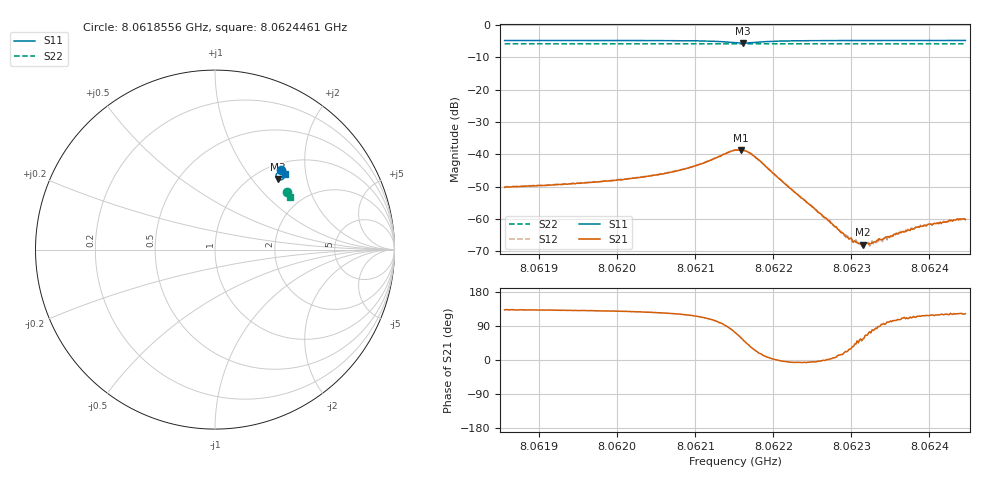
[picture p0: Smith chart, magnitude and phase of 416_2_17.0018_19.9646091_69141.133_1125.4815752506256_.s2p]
#  HZ  S  RI  R  50.00
! Rohde & Schwarz Vector Network Analyzer
! Rohde-Schwarz,ZNB20-2Port,1311601062101988,3.16
! Created: UTC 3/20/2024, 11:10:45 PM
! freq[Hz]  re:S11  im:S11  re:S21  im:S21  re:S12  im:S12  re:S22  im:S22
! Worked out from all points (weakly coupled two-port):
!   401 points, 8.0618556 GHz to 8.0624461 GHz, reference 50 ohm
!   highest |S21| = -38.66 dB at 8.0621582 GHz (marker M1); lowest = -68.0 dB at 8.0623147 GHz (marker M2)
!   lowest |S11| = -5.6 dB at 8.0621612 GHz (marker M3), VSWR 3.22, Z = 62.4 + j67.9 ohm
!   |S11| at or under -10 dB: nowhere
!   |S22| runs from -5.9 to -5.8 dB; largest |S21 - S12| = 0.00077
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8.06185558e9  0.3677 0.4434  -0.00208 0.00227  -0.002 0.00243  0.3994 0.3203
8.0619545e9  0.3748 0.4371  -0.00233 0.00271  -0.00217 0.00287  0.4031 0.3152
8.06200765e9  0.379 0.4328  -0.00252 0.00319  -0.00236 0.00337  0.4052 0.3124
8.06205342e9  0.3829 0.4273  -0.00277 0.00397  -0.0026 0.00419  0.4068 0.3101
8.06209771e9  0.3871 0.4172  -0.00291 0.00581  -0.00257 0.006  0.4084 0.3076
8.06215086e9  0.3648 0.3881  0.00336 0.0111  0.00407 0.0109  0.4087 0.3039
8.06215824e9  0.3529 0.3907  0.00604 0.00998  0.00661 0.00978  0.4085 0.3037
8.06216119e9  0.3485 0.3937  0.00684 0.00916  0.00754 0.0089  0.4084 0.3039
8.06217448e9  0.3402 0.4132  0.00837 0.00457  0.0087 0.00414  0.4089 0.3043
8.06224977e9  0.3722 0.4345  0.00153 -0.000147  0.00154 -0.000302  0.4131 0.3012
8.06227339e9  0.3766 0.4329  0.000862 5.13e-05  0.000901 1.79e-05  0.4141 0.2999
8.06228668e9  0.3785 0.4319  0.000592 0.000153  0.000629 0.000125  0.4145 0.2992
8.06229406e9  0.3795 0.4313  0.000489 0.000194  0.000537 0.000138  0.4149 0.2988
8.06230144e9  0.3804 0.431  0.000359 0.000257  0.000393 0.000252  0.4152 0.2985
8.06230882e9  0.3813 0.4303  0.000291 0.000294  0.000328 0.000264  0.4155 0.2981
8.06231473e9  0.3819 0.43  0.000227 0.000327  0.000224 0.00034  0.4157 0.2977
8.06232506e9  0.383 0.4294  0.000131 0.000391  0.000127 0.000385  0.416 0.2972
8.06234869e9  0.3852 0.4278  -9.47e-05 0.000505  -6.16e-05 0.000523  0.4169 0.296
8.06235607e9  0.3857 0.4273  -0.000145 0.000562  -0.000122 0.000553  0.4173 0.2955
8.06238559e9  0.3882 0.4255  -0.000318 0.000689  -0.000289 0.0007  0.4182 0.294
8.06242841e9  0.3914 0.423  -0.000496 0.000817  -0.000431 0.000837  0.4196 0.2918
8.06244612e9  0.3925 0.422  -0.000518 0.000823  -0.000511 0.000893  0.4203 0.2908
